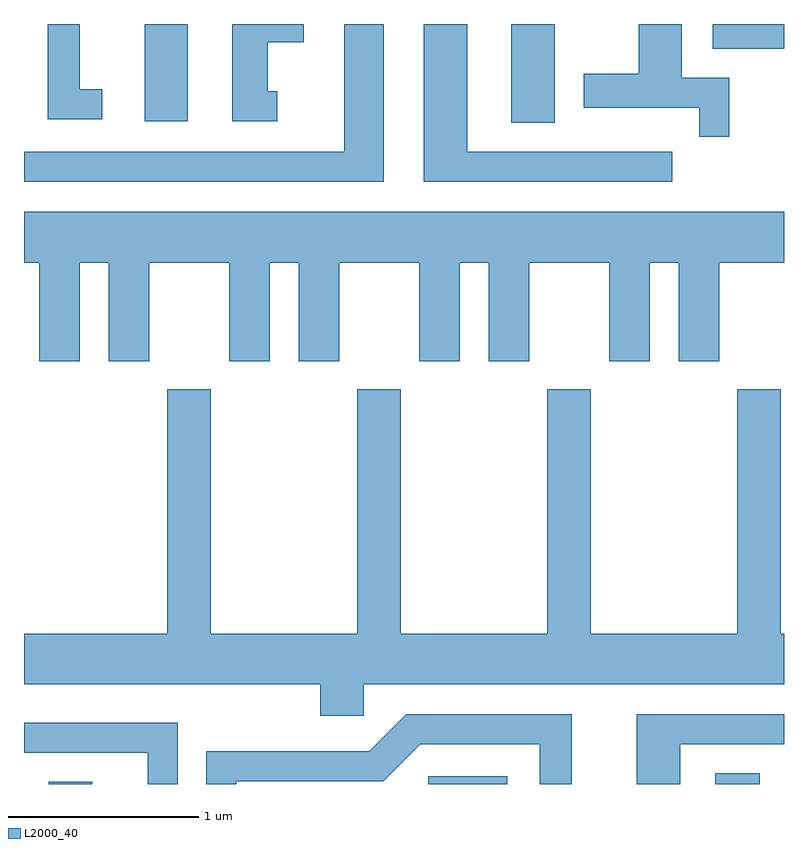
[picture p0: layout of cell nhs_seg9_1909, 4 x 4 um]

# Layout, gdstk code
import gdstk
lib = gdstk.Library(unit=1e-6, precision=1e-09)
def R(c, l, rs):  # rectangles x0, y0, x1, y1
    for r in rs: c.add(gdstk.rectangle(r[:2], r[2:], *l))
def P(c, l, *ps):  # polygons
    for p in ps: c.add(gdstk.Polygon(p, *l))
L2000_40 = (2000, 40)

nhs_seg9_1909 = lib.new_cell('nhs_seg9_1909')
R(nhs_seg9_1909, L2000_40, [(241.741,1962.432,241.969,1962.444), (243.738,1962.432,244.154,1962.474), (245.248,1962.432,245.484,1962.489), (244.176,1965.911,244.404,1966.432), (242.246,1965.921,242.474,1966.432), (245.236,1966.301,245.611,1966.432)])
P(nhs_seg9_1909, L2000_40, [(245.023,1965.759),(243.944,1965.759),(243.944,1966.432),(243.716,1966.432),(243.716,1965.601),(245.023,1965.601)],
  [(245.324,1966.149),(245.074,1966.149),(245.074,1966.432),(244.846,1966.432),(244.846,1966.169),(244.556,1966.169),(244.556,1965.991),(245.166,1965.991),(245.166,1965.838),(245.324,1965.838)],
  [(242.943,1966.079),(242.894,1966.079),(242.894,1966.336),(243.084,1966.336),(243.084,1966.432),(242.706,1966.432),(242.706,1965.921),(242.943,1965.921)],
  [(243.504,1966.432),(243.296,1966.432),(243.296,1965.759),(241.611,1965.759),(241.611,1965.601),(243.504,1965.601)],
  [(242.023,1966.089),(241.904,1966.089),(241.904,1966.432),(241.736,1966.432),(241.736,1965.931),(242.023,1965.931)],
  [(241.904,1965.176),(242.056,1965.176),(242.056,1964.656),(242.269,1964.656),(242.269,1965.176),(242.691,1965.176),(242.691,1964.656),(242.904,1964.656),(242.904,1965.176),(243.056,1965.176),(243.056,1964.656),(243.269,1964.656),(243.269,1965.176),(243.691,1965.176),(243.691,1964.656),(243.904,1964.656),(243.904,1965.176),(244.056,1965.176),(244.056,1964.656),(244.269,1964.656),(244.269,1965.176),(244.691,1965.176),(244.691,1964.656),(244.904,1964.656),(244.904,1965.176),(245.056,1965.176),(245.056,1964.656),(245.269,1964.656),(245.269,1965.176),(245.611,1965.176),(245.611,1965.444),(241.611,1965.444),(241.611,1965.176),(241.691,1965.176),(241.691,1964.656),(241.904,1964.656)],
  [(243.399,1962.956),(245.611,1962.956),(245.611,1963.224),(245.594,1963.224),(245.594,1964.509),(245.366,1964.509),(245.366,1963.224),(244.594,1963.224),(244.594,1964.509),(244.366,1964.509),(244.366,1963.224),(243.594,1963.224),(243.594,1964.509),(243.366,1964.509),(243.366,1963.224),(242.594,1963.224),(242.594,1964.509),(242.366,1964.509),(242.366,1963.224),(241.611,1963.224),(241.611,1962.956),(243.171,1962.956),(243.171,1962.791),(243.399,1962.791)],
  [(242.729,1962.446),(243.502,1962.446),(243.697,1962.641),(244.326,1962.641),(244.326,1962.432),(244.494,1962.432),(244.494,1962.799),(243.624,1962.799),(243.429,1962.604),(242.571,1962.604),(242.571,1962.432),(242.729,1962.432)],
  [(245.064,1962.641),(245.611,1962.641),(245.611,1962.799),(244.836,1962.799),(244.836,1962.432),(245.064,1962.432)],
  [(242.419,1962.754),(241.611,1962.754),(241.611,1962.596),(242.261,1962.596),(242.261,1962.432),(242.419,1962.432)])

lib.write_gds('nhs_seg9_1909.gds')
